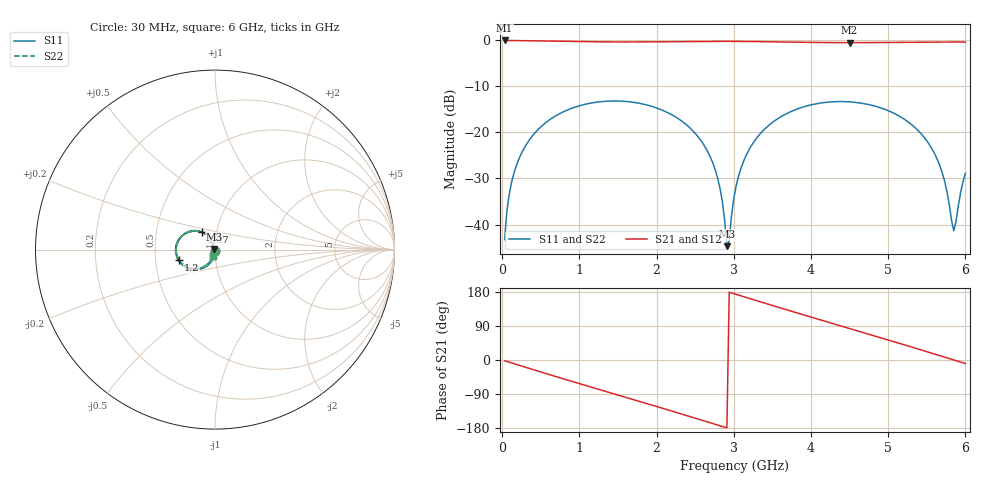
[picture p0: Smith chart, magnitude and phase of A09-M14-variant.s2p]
! yapnr Order 0 O0-M: O0-M A09 M1.4 30 (variant, family M1.4)
! stackup OSHPARK-4L-EM528, nominal parameters; geometry of the OSHPARK-4L-FR408HR design
! model: 2D quasi-static RLGC (Djordjevic-Sarkar, Huray roughness, Wheeler loss); generated by python -m yapnr.rf.coupons expected --stackup OSHPARK-4L-FR408HR --upload M
! reference planes 10 mm from each end; 50 ohm (from the M line's Zc)
# GHz S DB R 50
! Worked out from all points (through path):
!   200 points, 30 MHz to 6 GHz, reference 50 ohm
!   highest |S21| = -0.01 dB at 30 MHz (marker M1); lowest = -0.5 dB at 4.5 GHz (marker M2)
!   group delay of S21, straight-line fit = 170 ps
!   lowest |S11| = -44.7 dB at 2.91 GHz (marker M3), VSWR 1.01, Z = 49.5 + j0.276 ohm
!   |S11| at or under -10 dB: start of sweep to end of sweep
!   |S22| runs from -44.7 to -13.2 dB; largest |S21 - S12| = 0
!   S11 on the Smith chart (normalised r, x): 30 MHz: 1.00, -0.01; 1.2 GHz: 0.66, -0.08; 2.37 GHz: 0.85, +0.17; 6 GHz: 0.97, -0.06
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0.03  -43.28 -84.5  -0.01 -2.0  -0.01 -2.0  -43.28 -84.5
0.06  -37.02 -89.0  -0.01 -3.9  -0.01 -3.9  -37.02 -89.0
0.12  -30.85 -94.5  -0.02 -7.7  -0.02 -7.7  -30.85 -94.5
0.3  -22.93 -107.3  -0.06 -19.1  -0.06 -19.1  -22.93 -107.3
1.05  -13.97 -154.5  -0.27 -65.5  -0.27 -65.5  -13.97 -154.5
1.2  -13.47 -163.5  -0.30 -74.5  -0.30 -74.5  -13.47 -163.5
2.04  -14.93 146.4  -0.30 -125.1  -0.30 -125.1  -14.93 146.4
2.37  -18.11 127.0  -0.24 -145.4  -0.24 -145.4  -18.11 127.0
2.76  -28.18 108.0  -0.20 -169.8  -0.20 -169.8  -28.18 108.0
2.85  -34.90 111.2  -0.20 -175.5  -0.20 -175.5  -34.90 111.2
2.91  -44.70 151.3  -0.20 -179.2  -0.20 -179.2  -44.70 151.3
2.94  -43.57 -140.3  -0.20 178.9  -0.20 178.9  -43.57 -140.3
3.03  -31.60 -107.4  -0.21 173.2  -0.21 173.2  -31.60 -107.4
3.15  -25.32 -109.1  -0.22 165.7  -0.22 165.7  -25.32 -109.1
3.36  -19.95 -119.7  -0.27 152.5  -0.27 152.5  -19.95 -119.7
4.02  -13.93 -158.1  -0.43 112.0  -0.43 112.0  -13.93 -158.1
4.5  -13.35 173.9  -0.49 83.2  -0.49 83.2  -13.35 173.9
5.01  -15.34 144.4  -0.44 52.3  -0.44 52.3  -15.34 144.4
5.58  -23.94 114.6  -0.35 17.0  -0.35 17.0  -23.94 114.6
5.73  -30.55 114.3  -0.34 7.6  -0.34 7.6  -30.55 114.3
5.85  -41.38 179.1  -0.34 0.1  -0.34 0.1  -41.38 179.1
6  -28.86 -112.7  -0.36 -9.4  -0.36 -9.4  -28.86 -112.7
